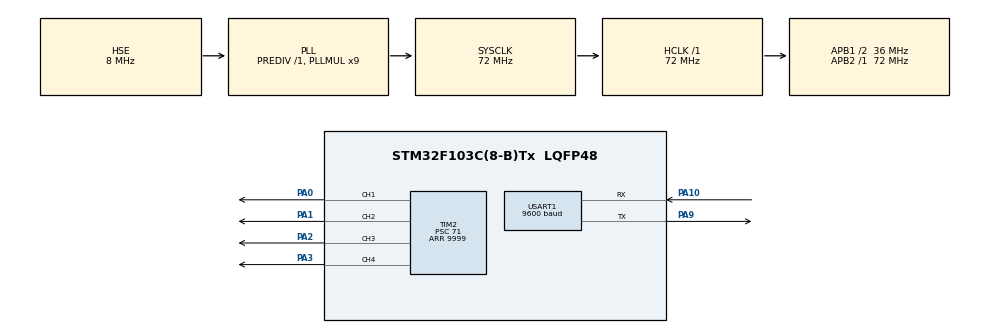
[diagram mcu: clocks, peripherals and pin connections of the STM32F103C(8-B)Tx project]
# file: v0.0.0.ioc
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Mcu.Family=STM32F1
Mcu.Name=STM32F103C(8-B)Tx
Mcu.Package=LQFP48
NVIC.PriorityGroup=NVIC_PRIORITYGROUP_4
NVIC.USART1_IRQn=true\:1\:0\:true\:false\:true\:true\:true\:true
PA0-WKUP.Signal=S_TIM2_CH1_ETR
PA1.Signal=S_TIM2_CH2
PA10.Mode=Asynchronous
PA10.Signal=USART1_RX
PA13.Mode=Serial_Wire
PA13.Signal=SYS_JTMS-SWDIO
PA14.Mode=Serial_Wire
PA14.Signal=SYS_JTCK-SWCLK
PA2.Signal=S_TIM2_CH3
PA3.Signal=S_TIM2_CH4
PA9.Mode=Asynchronous
PA9.Signal=USART1_TX
PD0-OSC_IN.Mode=HSE-External-Oscillator
PD0-OSC_IN.Signal=RCC_OSC_IN
PD1-OSC_OUT.Mode=HSE-External-Oscillator
PD1-OSC_OUT.Signal=RCC_OSC_OUT
ProjectManager.HeapSize=0x200
ProjectManager.StackSize=0x400
ProjectManager.TargetToolchain=MDK-ARM V5.32
RCC.AHBFreq_Value=72000000
RCC.APB1CLKDivider=RCC_HCLK_DIV2
RCC.APB1Freq_Value=36000000
RCC.APB1TimFreq_Value=72000000
RCC.APB2Freq_Value=72000000
RCC.APB2TimFreq_Value=72000000
RCC.HCLKFreq_Value=72000000
RCC.PLLMUL=RCC_PLL_MUL9
RCC.PLLSourceVirtual=RCC_PLLSOURCE_HSE
RCC.SYSCLKFreq_VALUE=72000000
RCC.SYSCLKSource=RCC_SYSCLKSOURCE_PLLCLK
RCC.USBFreq_Value=72000000
SH.S_TIM2_CH1_ETR.0=TIM2_CH1,PWM Generation1 CH1
SH.S_TIM2_CH2.0=TIM2_CH2,PWM Generation2 CH2
SH.S_TIM2_CH3.0=TIM2_CH3,PWM Generation3 CH3
SH.S_TIM2_CH4.0=TIM2_CH4,PWM Generation4 CH4
TIM2.Channel-PWM\ Generation1\ CH1=TIM_CHANNEL_1
TIM2.Channel-PWM\ Generation2\ CH2=TIM_CHANNEL_2
TIM2.Channel-PWM\ Generation3\ CH3=TIM_CHANNEL_3
TIM2.Channel-PWM\ Generation4\ CH4=TIM_CHANNEL_4
TIM2.Period=9999
TIM2.Prescaler=71
USART1.BaudRate=9600
USART1.VirtualMode=VM_ASYNC
VP_TIM2_VS_ClockSourceINT.Mode=Internal
board=custom

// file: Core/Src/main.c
/* USER CODE BEGIN Header */
/**
  ******************************************************************************
  * @file           : main.c
  * @brief          : Main program body
  ******************************************************************************
  * @attention
  *
  * Copyright (c) 2023 STMicroelectronics.
  * All rights reserved.
  *
  * This software is licensed under terms that can be found in the LICENSE file
  * in the root directory of this software component.
  * If no LICENSE file comes with this software, it is provided AS-IS.
  *
  ******************************************************************************
  */
/* USER CODE END Header */
#include "main.h"

/* USER CODE BEGIN Includes */
#include <stdio.h>
/* USER CODE END Includes */

TIM_HandleTypeDef htim2;

UART_HandleTypeDef huart1;

void SystemClock_Config(void);
static void MX_GPIO_Init(void);
static void MX_TIM2_Init(void);
static void MX_USART1_UART_Init(void);

/* USER CODE BEGIN 0 */
uint8_t Rx_Data;
volatile uint8_t Flag_In = 0;
void tien(void);
void stop(void);
void lui(void);
void trai(void);
void phai(void);
//-----------------------------Ham xu ly tin hieu Uart--------------------------------------
void HAL_UART_RxCpltCallback(UART_HandleTypeDef *huart){
	if(huart->Instance == huart1.Instance)
	{
		HAL_UART_Receive_IT(&huart1,&Rx_Data,1);
		Flag_In = 1;
	}

}
//-----------------------------Ham Dieu Khien Dong Co---------------------------------------
void thuan(void){
	HAL_TIM_PWM_Start(&htim2,TIM_CHANNEL_1);
	HAL_TIM_PWM_Start(&htim2,TIM_CHANNEL_3);
	HAL_TIM_PWM_Stop(&htim2,TIM_CHANNEL_2);
	HAL_TIM_PWM_Stop(&htim2,TIM_CHANNEL_4);
}
void nghich(void){
	HAL_TIM_PWM_Start(&htim2,TIM_CHANNEL_2);
	HAL_TIM_PWM_Start(&htim2,TIM_CHANNEL_4);
	HAL_TIM_PWM_Stop(&htim2,TIM_CHANNEL_1);
	HAL_TIM_PWM_Stop(&htim2,TIM_CHANNEL_3);
}

//-------------------------------------------------------
void tien(void){
	thuan();
	__HAL_TIM_SET_COMPARE(&htim2,TIM_CHANNEL_1,9999);
	__HAL_TIM_SET_COMPARE(&htim2,TIM_CHANNEL_3,9999);
}
void lui(void){
	nghich();
	__HAL_TIM_SET_COMPARE(&htim2,TIM_CHANNEL_2,9999);
	__HAL_TIM_SET_COMPARE(&htim2,TIM_CHANNEL_4,9999);
}
void trai(void){
	thuan();
	__HAL_TIM_SET_COMPARE(&htim2,TIM_CHANNEL_1,9999);
	__HAL_TIM_SET_COMPARE(&htim2,TIM_CHANNEL_3,4000);
}
void phai(void){
		thuan();
	__HAL_TIM_SET_COMPARE(&htim2,TIM_CHANNEL_1,4000);
	__HAL_TIM_SET_COMPARE(&htim2,TIM_CHANNEL_3,9999);
}
void tien_trai(void){
	thuan();
	__HAL_TIM_SET_COMPARE(&htim2,TIM_CHANNEL_1,9999);
	__HAL_TIM_SET_COMPARE(&htim2,TIM_CHANNEL_3,6500);
}
void tien_phai(void){
	thuan();
	__HAL_TIM_SET_COMPARE(&htim2,TIM_CHANNEL_1,6500);
	__HAL_TIM_SET_COMPARE(&htim2,TIM_CHANNEL_3,9999);
}
void lui_trai(void){
	nghich();
	__HAL_TIM_SET_COMPARE(&htim2,TIM_CHANNEL_1,9999);
	__HAL_TIM_SET_COMPARE(&htim2,TIM_CHANNEL_3,6500);
}
void lui_phai(void){
	nghich();
	__HAL_TIM_SET_COMPARE(&htim2,TIM_CHANNEL_1,6500);
	__HAL_TIM_SET_COMPARE(&htim2,TIM_CHANNEL_3,9999);
}
void stop(void){
	__HAL_TIM_SET_COMPARE(&htim2,TIM_CHANNEL_1,0);
	__HAL_TIM_SET_COMPARE(&htim2,TIM_CHANNEL_3,0);
	__HAL_TIM_SET_COMPARE(&htim2,TIM_CHANNEL_1,0);
	__HAL_TIM_SET_COMPARE(&htim2,TIM_CHANNEL_3,0);

}

/* USER CODE END 0 */

int main(void)
{

  /* MCU Configuration--------------------------------------------------------*/

  /* Reset of all peripherals, Initializes the Flash interface and the Systick. */
  HAL_Init();

  /* Configure the system clock */
  SystemClock_Config();

  /* Initialize all configured peripherals */
  MX_GPIO_Init();
  MX_TIM2_Init();
  MX_USART1_UART_Init();
  /* USER CODE BEGIN 2 */
	HAL_UART_Receive_IT(&huart1,&Rx_Data,1);
  /* USER CODE END 2 */

  /* Infinite loop */
  /* USER CODE BEGIN WHILE */
  while (1)
  {
		if(Flag_In == 1)
		{
			switch(Rx_Data)
			{
				case 'S':
					stop();
					break;
				case 'F':
					tien();
					break;
				case 'B':
					lui();
					break;
				case 'L':
					trai();
					break;
				case 'R':
					phai();
					break;
			}
			Flag_In = 0;
		}

    /* USER CODE END WHILE */

  }
}

void SystemClock_Config(void)
{
  RCC_OscInitTypeDef RCC_OscInitStruct = {0};
  RCC_ClkInitTypeDef RCC_ClkInitStruct = {0};

  /** Initializes the RCC Oscillators according to the specified parameters
  * in the RCC_OscInitTypeDef structure.
  */
  RCC_OscInitStruct.OscillatorType = RCC_OSCILLATORTYPE_HSE;
  RCC_OscInitStruct.HSEState = RCC_HSE_ON;
  RCC_OscInitStruct.HSEPredivValue = RCC_HSE_PREDIV_DIV1;
  RCC_OscInitStruct.HSIState = RCC_HSI_ON;
  RCC_OscInitStruct.PLL.PLLState = RCC_PLL_ON;
  RCC_OscInitStruct.PLL.PLLSource = RCC_PLLSOURCE_HSE;
  RCC_OscInitStruct.PLL.PLLMUL = RCC_PLL_MUL9;
  if (HAL_RCC_OscConfig(&RCC_OscInitStruct) != HAL_OK)
  {
    Error_Handler();
  }

  /** Initializes the CPU, AHB and APB buses clocks
  */
  RCC_ClkInitStruct.ClockType = RCC_CLOCKTYPE_HCLK|RCC_CLOCKTYPE_SYSCLK
                              |RCC_CLOCKTYPE_PCLK1|RCC_CLOCKTYPE_PCLK2;
  RCC_ClkInitStruct.SYSCLKSource = RCC_SYSCLKSOURCE_PLLCLK;
  RCC_ClkInitStruct.AHBCLKDivider = RCC_SYSCLK_DIV1;
  RCC_ClkInitStruct.APB1CLKDivider = RCC_HCLK_DIV2;
  RCC_ClkInitStruct.APB2CLKDivider = RCC_HCLK_DIV1;

  if (HAL_RCC_ClockConfig(&RCC_ClkInitStruct, FLASH_LATENCY_2) != HAL_OK)
  {
    Error_Handler();
  }
}

static void MX_TIM2_Init(void)
{

  TIM_ClockConfigTypeDef sClockSourceConfig = {0};
  TIM_MasterConfigTypeDef sMasterConfig = {0};
  TIM_OC_InitTypeDef sConfigOC = {0};

  htim2.Instance = TIM2;
  htim2.Init.Prescaler = 71;
  htim2.Init.CounterMode = TIM_COUNTERMODE_UP;
  htim2.Init.Period = 9999;
  htim2.Init.ClockDivision = TIM_CLOCKDIVISION_DIV1;
  htim2.Init.AutoReloadPreload = TIM_AUTORELOAD_PRELOAD_DISABLE;
  if (HAL_TIM_Base_Init(&htim2) != HAL_OK)
  {
    Error_Handler();
  }
  sClockSourceConfig.ClockSource = TIM_CLOCKSOURCE_INTERNAL;
  if (HAL_TIM_ConfigClockSource(&htim2, &sClockSourceConfig) != HAL_OK)
  {
    Error_Handler();
  }
  if (HAL_TIM_PWM_Init(&htim2) != HAL_OK)
  {
    Error_Handler();
  }
  sMasterConfig.MasterOutputTrigger = TIM_TRGO_RESET;
  sMasterConfig.MasterSlaveMode = TIM_MASTERSLAVEMODE_DISABLE;
  if (HAL_TIMEx_MasterConfigSynchronization(&htim2, &sMasterConfig) != HAL_OK)
  {
    Error_Handler();
  }
  sConfigOC.OCMode = TIM_OCMODE_PWM1;
  sConfigOC.Pulse = 0;
  sConfigOC.OCPolarity = TIM_OCPOLARITY_HIGH;
  sConfigOC.OCFastMode = TIM_OCFAST_DISABLE;
  if (HAL_TIM_PWM_ConfigChannel(&htim2, &sConfigOC, TIM_CHANNEL_1) != HAL_OK)
  {
    Error_Handler();
  }
  if (HAL_TIM_PWM_ConfigChannel(&htim2, &sConfigOC, TIM_CHANNEL_2) != HAL_OK)
  {
    Error_Handler();
  }
  if (HAL_TIM_PWM_ConfigChannel(&htim2, &sConfigOC, TIM_CHANNEL_3) != HAL_OK)
  {
    Error_Handler();
  }
  if (HAL_TIM_PWM_ConfigChannel(&htim2, &sConfigOC, TIM_CHANNEL_4) != HAL_OK)
  {
    Error_Handler();
  }
  HAL_TIM_MspPostInit(&htim2);

}

static void MX_USART1_UART_Init(void)
{

  huart1.Instance = USART1;
  huart1.Init.BaudRate = 9600;
  huart1.Init.WordLength = UART_WORDLENGTH_8B;
  huart1.Init.StopBits = UART_STOPBITS_1;
  huart1.Init.Parity = UART_PARITY_NONE;
  huart1.Init.Mode = UART_MODE_TX_RX;
  huart1.Init.HwFlowCtl = UART_HWCONTROL_NONE;
  huart1.Init.OverSampling = UART_OVERSAMPLING_16;
  if (HAL_UART_Init(&huart1) != HAL_OK)
  {
    Error_Handler();
  }

}

static void MX_GPIO_Init(void)
{

  /* GPIO Ports Clock Enable */
  __HAL_RCC_GPIOD_CLK_ENABLE();
  __HAL_RCC_GPIOA_CLK_ENABLE();

}

void Error_Handler(void)
{
  __disable_irq();
  while (1)
  {
  }
}
